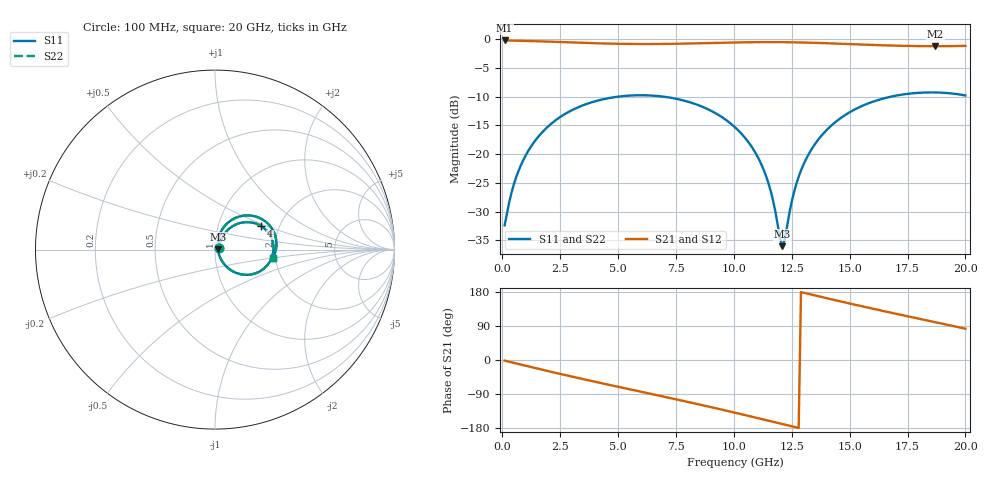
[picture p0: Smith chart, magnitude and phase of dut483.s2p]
! Touchstone file exported from HFSS 2026.1.0
!  File:  C:/ffzhzh/LocalFiles/Ansys_Project_Files/temp_train_TSV_RDL_483_1783104640_35180.aedt
!  Generated:  03:01:27 AM Jul  4, 2026
!  Design:  TSV_RDL
!  Project:  temp_train_TSV_RDL_483_1783104640_35180
! Variables:
!  h_bsmrdl = 5.41um
!  h_ox = 20um
!  h_rdl = 5um
!  h_sub = 96.21um
!  h_tmrdl = 2.97um
!  h_tsv = 96.21um
!  h_via = 3um
!  l_bsmrdl = 716.88um
!  l_sub = 4033.3um
!  l_tmrdl = 348.33um
!  m_sub = 200um
!  pitch = 34.39um
!  r_tsv = 13.41um
!  s_tmrdl = 10um
!  w_bsmrdl = 14.02um
!  w_sub = 500um
!  w_tmrdl = 15.76um
!  x_tsv_center1 = 356.21um
!  x_tsv_center2 = 1087.11um
!  x_tsv_center3 = 1451.2um
!  x_tsv_center4 = 2182.1um
!  x_tsv_center5 = 2546.19um
!  x_tsv_center6 = 3277.09um
# GHz S MA R 50.000000
! Terminal data exported
! Port[1] = TM_RDL1_1_T1
! Port[2] = TM_RDL5_1_T1
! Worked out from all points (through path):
!   200 points, 100 MHz to 20 GHz, reference 50 ohm
!   highest |S21| = -0.19 dB at 100 MHz (marker M1); lowest = -1.2 dB at 18.7 GHz (marker M2)
!   group delay of S21, straight-line fit = 38.6 ps
!   lowest |S11| = -36.0 dB at 12.1 GHz (marker M3), VSWR 1.03, Z = 51.6 + j0.186 ohm
!   |S11| at or under -10 dB: start of sweep to 4.961 GHz; 7 GHz to 16.76 GHz (9.761 GHz wide, 82.2 % of centre)
!   |S22| runs from -36.0 to -9.2 dB; largest |S21 - S12| = 2.1e-14
!   S11 on the Smith chart (normalised r, x): 100 MHz: 1.04, +0.02; 4 GHz: 1.61, +0.46; 20 GHz: 1.93, -0.20
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0.1  0.02399 24.4  0.9784 -1.6  0.9784 -1.6  0.02399 24.4
! Gamma 0 0 0 0
! Port Impedance 50 0 50 0
0.4  0.04642 52.9  0.9753 -6.1  0.9753 -6.1  0.04642 52.9
0.6  0.06312 57.5  0.9733 -9.1  0.9733 -9.1  0.06312 57.5
1.2  0.1133 58.3  0.9669 -18.0  0.9669 -18.0  0.1133 58.3
2.2  0.1904 48.9  0.9528 -32.5  0.9528 -32.5  0.1904 49.0
3.5  0.2673 33.2  0.9323 -50.6  0.9323 -50.6  0.2673 33.2
4  0.2887 26.9  0.9254 -57.4  0.9254 -57.4  0.2887 26.9
5.4  0.323 9.5  0.9126 -76.0  0.9126 -76.0  0.323 9.5
6.8  0.3197 -7.9  0.9116 -94.4  0.9116 -94.4  0.3197 -7.9
8.5  0.2657 -29.2  0.9241 -117.3  0.9241 -117.3  0.2657 -29.2
10.1  0.1679 -49.0  0.9399 -139.8  0.9399 -139.8  0.1679 -48.9
10.8  0.1136 -56.2  0.9446 -149.9  0.9446 -149.9  0.1136 -56.1
11.3  0.0722 -58.6  0.9463 -157.2  0.9463 -157.2  0.07218 -58.6
11.6  0.04712 -55.9  0.9465 -161.7  0.9465 -161.7  0.0471 -55.9
12.1  0.01581 6.5  0.9454 -169.0  0.9454 -169.0  0.0158 6.6
12.2  0.01803 34.6  0.9449 -170.5  0.9449 -170.5  0.01802 34.7
12.7  0.05518 72.1  0.9416 -177.9  0.9416 -177.9  0.05518 72.2
13.4  0.114 70.9  0.9342 171.9  0.9342 171.9  0.114 71.0
14.8  0.2189 55.5  0.9131 151.9  0.9131 151.9  0.2189 55.5
16.7  0.3143 32.0  0.8844 126.0  0.8844 126.0  0.3143 32.1
18.7  0.3449 7.6  0.8723 99.7  0.8723 99.7  0.3449 7.6
20  0.3248 -8.2  0.8776 82.6  0.8776 82.6  0.3248 -8.2
